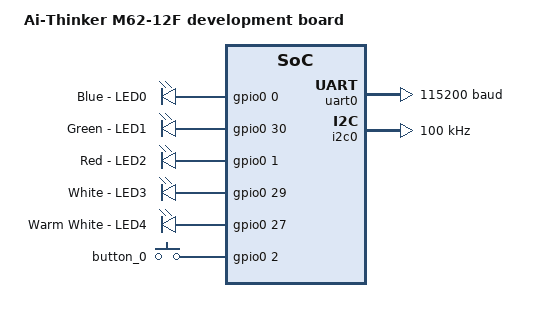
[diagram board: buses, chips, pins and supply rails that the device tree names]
/*
 * Copyright (c) 2024-2025 MASSDRIVER EI (massdriver.space)
 *
 * SPDX-License-Identifier: Apache-2.0
 */

/dts-v1/;

#include <bflb/bl616.dtsi>
#include "ai_m62_12f-pinctrl.dtsi"

/ {
	model = "Ai-Thinker M62-12F development board";
	compatible = "bflb,bl616";

	chosen {
		zephyr,flash = &flash0;
		zephyr,code-partition = &slot0_partition;
		zephyr,itcm = &sram1;
		zephyr,sram = &sram0;
		zephyr,console = &uart0;
		zephyr,shell-uart = &uart0;
	};

	aliases {
		led0 = &blue_led;
		pwm-led0 = &white_pwm_led;
		sw0 = &button_0;
	};

	leds {
		compatible = "gpio-leds";

		blue_led: led_0 {
			gpios = <&gpio0 0 (GPIO_ACTIVE_HIGH | GPIO_PULL_DOWN)>;
			label = "Blue - LED0";
		};

		green_led: led_1 {
			gpios = <&gpio0 30 GPIO_ACTIVE_HIGH>;
			label = "Green - LED1";
		};

		red_led: led_2 {
			gpios = <&gpio0 1 GPIO_ACTIVE_HIGH>;
			label = "Red - LED2";
		};

		white_led: led_3 {
			gpios = <&gpio0 29 GPIO_ACTIVE_HIGH>;
			label = "White - LED3";
		};

		warmwhite_led: led_4 {
			gpios = <&gpio0 27 GPIO_ACTIVE_HIGH>;
			label = "Warm White - LED4";
		};
	};

	pwmleds: pwmleds {
		compatible = "pwm-leds";
		status = "disabled";

		blue_pwm_led: led_pwm_0 {
			pwms = <&pwm0 0 PWM_MSEC(1) PWM_POLARITY_NORMAL>;
			label = "Blue - LED0 PWM";
		};

		green_pwm_led: led_pwm_1 {
			pwms = <&pwm0 2 PWM_MSEC(1) PWM_POLARITY_NORMAL>;
			label = "Green - LED1 PWM";
		};

		red_pwm_led: led_pwm_2 {
			pwms = <&pwm0 1 PWM_MSEC(1) PWM_POLARITY_NORMAL>;
			label = "Red - LED2 PWM";
		};

		white_pwm_led: led_pwm_3 {
			pwms = <&pwm0 1 PWM_MSEC(1) PWM_POLARITY_NORMAL>;
			label = "White - LED3 PWM";
		};

		warmwhite_pwm_led: led_pwm_4 {
			pwms = <&pwm0 3 PWM_MSEC(1) PWM_POLARITY_NORMAL>;
			label = "Warm White - LED4 PWM";
		};
	};

	buttons {
		compatible = "gpio-keys";

		button_0: sw0 {
			gpios = <&gpio0 2 GPIO_ACTIVE_HIGH>;
			zephyr,code = <INPUT_KEY_0>;
		};
	};
};

&cpu0 {
	clock-frequency = <DT_FREQ_M(320)>;
};

&flashctrl {
	flash0: flash@A0000000 {
		compatible = "soc-nv-flash", "gd,25lq32d";
		reg = <0xA0000000 (0x400000 - 0x2000)>;
		write-block-size = <256>;
		erase-block-size = <DT_SIZE_K(4)>;

		partitions {
			compatible = "fixed-partitions";
			#address-cells = <1>;
			#size-cells = <1>;

			slot0_partition: partition@0 {
				label = "image-0";
				reg = <0x00000000 0x00100000>;
				read-only;
			};

			storage_partition: partition@100000 {
				label = "storage";
				reg = <0x00100000 (0x300000 - 0x2000)>;
			};
		};
	};
};

&uart0 {
	status = "okay";
	current-speed = <115200>;

	pinctrl-0 = <&uart0_default>;
	pinctrl-1 = <&uart0_sleep>;
	pinctrl-names = "default", "sleep";
};

&gpio0 {
	status = "okay";
};

&i2c0 {
	status = "okay";
	clock-frequency = <I2C_BITRATE_STANDARD>;

	pinctrl-0 = <&i2c0_default>;
	pinctrl-names = "default";
};
